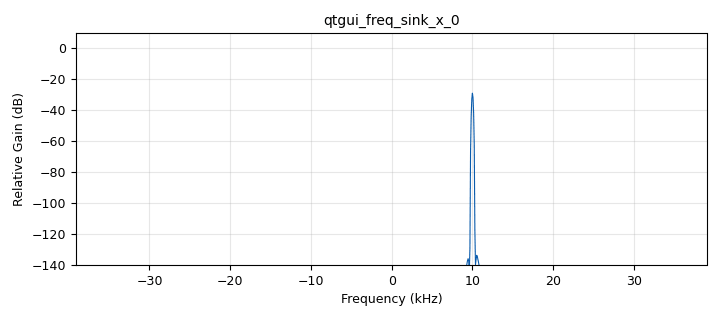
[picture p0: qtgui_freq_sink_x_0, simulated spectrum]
options:
  parameters:
    author: taiba
    generate_options: qt_gui
    id: Test
    output_language: python
    title: Not titled yet
  states: {}

blocks:
- name: samp_rate
  id: variable
  parameters:
    value: '78125'
  states: {}
- name: analog_sig_source_x_0
  id: analog_sig_source_x
  parameters:
    amp: '0.1'
    freq: '10000'
    offset: '0'
    phase: '0'
    samp_rate: samp_rate
    type: complex
    waveform: analog.GR_COS_WAVE
  states: {}
- name: iio_pluto_sink_0
  id: iio_pluto_sink
  parameters:
    attenuation1: '0'
    bandwidth: '200000'
    buffer_size: '32768'
    cyclic: 'False'
    filter_source: '''Auto'''
    frequency: '400630000'
    samplerate: samp_rate
    type: fc32
  states: {}
- name: qtgui_freq_sink_x_0
  id: qtgui_freq_sink_x
  parameters:
    bw: samp_rate
    fc: '0'
    fftsize: '1024'
    type: complex
  states: {}

connections:
- [analog_sig_source_x_0, '0', iio_pluto_sink_0, '0']
- [analog_sig_source_x_0, '0', qtgui_freq_sink_x_0, '0']

metadata:
  file_format: 1
  grc_version: 3.10.12.0
